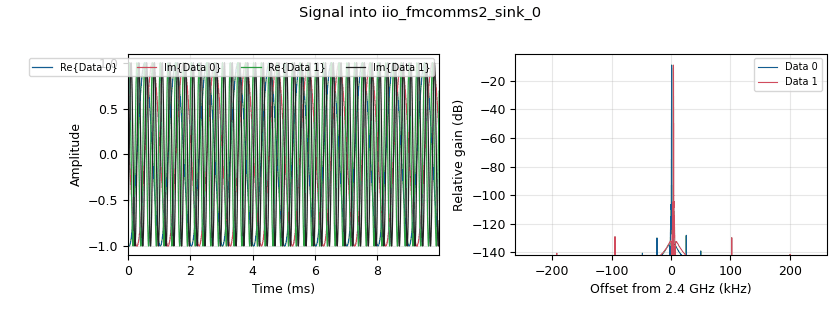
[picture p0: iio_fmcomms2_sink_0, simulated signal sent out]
options:
  parameters:
    generate_options: qt_gui
    id: bist_loopback_view
    output_language: python
    title: Not titled yet
  states: {}

blocks:
- name: samp_rate
  id: variable
  parameters:
    value: 2**19
  states: {}
- name: analog_sig_source_x_0
  id: analog_sig_source_x
  parameters:
    amp: '1'
    freq: '1000'
    offset: '0'
    phase: '0'
    samp_rate: samp_rate
    type: complex
    waveform: analog.GR_COS_WAVE
  states: {}
- name: analog_sig_source_x_0_0
  id: analog_sig_source_x
  parameters:
    amp: '1'
    freq: '4000'
    offset: '0'
    phase: '0'
    samp_rate: samp_rate
    type: complex
    waveform: analog.GR_COS_WAVE
  states: {}
- name: iio_fmcomms2_sink_0
  id: iio_fmcomms2_sink
  parameters:
    bandwidth: '20000000'
    buffer_size: '32768'
    cyclic: 'True'
    filter_source: '''Auto'''
    frequency: '2400000000'
    rf_port_select: '''A'''
    samplerate: samp_rate
    tx1_en: 'True'
    tx2_en: 'True'
    type: fc32
    uri: ip:169.254.34.234
  states: {}
- name: iio_fmcomms2_source_0
  id: iio_fmcomms2_source
  parameters:
    bandwidth: '20000000'
    bbdc: 'True'
    buffer_size: '32768'
    filter_source: '''Auto'''
    frequency: '2400000000'
    gain1: '''slow_attack'''
    gain2: '''slow_attack'''
    quadrature: 'True'
    rf_port_select: '''A_BALANCED'''
    rfdc: 'True'
    rx1_en: 'True'
    rx2_en: 'True'
    samplerate: samp_rate
    type: fc32
    uri: ip:169.254.34.234
  states: {}
- name: qtgui_sink_x_0
  id: qtgui_sink_x
  parameters:
    bw: samp_rate
    fc: '0'
    fftsize: '1024'
    type: complex
  states: {}
- name: qtgui_sink_x_0_0
  id: qtgui_sink_x
  parameters:
    bw: samp_rate
    fc: '0'
    fftsize: '1024'
    type: complex
  states: {}

connections:
- [analog_sig_source_x_0, '0', iio_fmcomms2_sink_0, '0']
- [analog_sig_source_x_0_0, '0', iio_fmcomms2_sink_0, '1']
- [iio_fmcomms2_source_0, '0', qtgui_sink_x_0, '0']
- [iio_fmcomms2_source_0, '1', qtgui_sink_x_0_0, '0']

metadata:
  file_format: 1
  grc_version: 3.10.7.0
